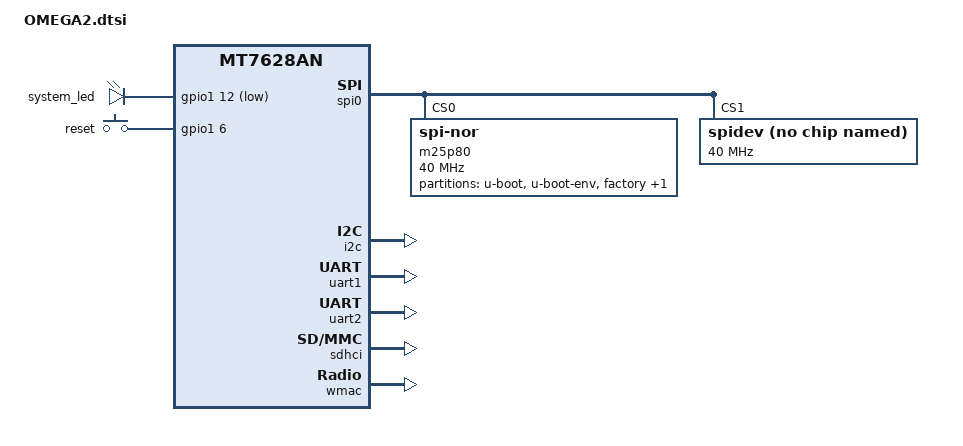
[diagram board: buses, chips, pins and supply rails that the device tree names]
#include "mt7628an.dtsi"

#include <dt-bindings/gpio/gpio.h>
#include <dt-bindings/input/input.h>

/ {
	compatible = "onion,omega", "mediatek,mt7628an-soc";

	chosen {
		bootargs = "console=ttyS0,115200";
	};

	gpio-leds {
		compatible = "gpio-leds";

		system_led: system {
			gpios = <&gpio1 12 GPIO_ACTIVE_LOW>;
		};
	};

	gpio-keys-polled {
		compatible = "gpio-keys-polled";
		#address-cells = <1>;
		#size-cells = <0>;
		poll-interval = <20>;

		reset {
			label = "reset";
			gpios = <&gpio1 6 GPIO_ACTIVE_HIGH>;
			linux,code = <KEY_RESTART>;
		};
	};
};

&pinctrl {
	state_default: pinctrl0 {
		gpio {
			mtk,group = "gpio";
			mtk,function = "gpio";
		};

		perst {
			mtk,group = "perst";
			mtk,function = "gpio";
		};

		refclk {
			mtk,group = "refclk";
			mtk,function = "gpio";
		};

		i2s {
			mtk,group = "i2s";
			mtk,function = "gpio";
		};

		spis {
			mtk,group = "spis";
			mtk,function = "gpio";
		};

		wled_kn {
			mtk,group = "wled_kn";
			mtk,function = "gpio";
		};

		wled_an {
			mtk,group = "wled_an";
			mtk,function = "gpio";
		};

		wdt {
			mtk,group = "wdt";
			mtk,function = "gpio";
		};

		pwm0 {
			mtk,group = "pwm0";
			mtk,function = "gpio";
		};

		pwm1 {
			mtk,group = "pwm1";
			mtk,function = "gpio";
		};
	};
};

&gpio1 {
	status = "okay";
};

&gpio2 {
	status = "okay";
};

&spi0 {
	status = "okay";

	pinctrl-names = "default";
	pinctrl-0 = <&spi_pins>, <&spi_cs1_pins>;

	m25p80@0 {
		#address-cells = <1>;
		#size-cells = <1>;
		compatible = "jedec,spi-nor";
		reg = <0>;
		spi-max-frequency = <40000000>;
		m25p,chunked-io = <31>;

		partition@0 {
			label = "u-boot";
			reg = <0x0 0x30000>;
			read-only;
		};

		partition@30000 {
			label = "u-boot-env";
			reg = <0x30000 0x10000>;
			read-only;
		};

		factory: partition@40000 {
			label = "factory";
			reg = <0x40000 0x10000>;
			read-only;
		};

		firmware: partition@50000 {
			label = "firmware";
		};
	};

	spidev@1 {
		#address-cells = <1>;
		#size-cells = <1>;
		compatible = "linux,spidev";
		reg = <1>;
		spi-max-frequency = <40000000>;
	};
};

&i2c {
	status = "okay";
};

&uart1 {
	status = "okay";
};

&uart2 {
	status = "okay";
};

&ethernet {
	mtd-mac-address = <&factory 0x28>;
};

&sdhci {
	status = "okay";
	mediatek,cd-low;
};

&wmac {
	status = "okay";
};
